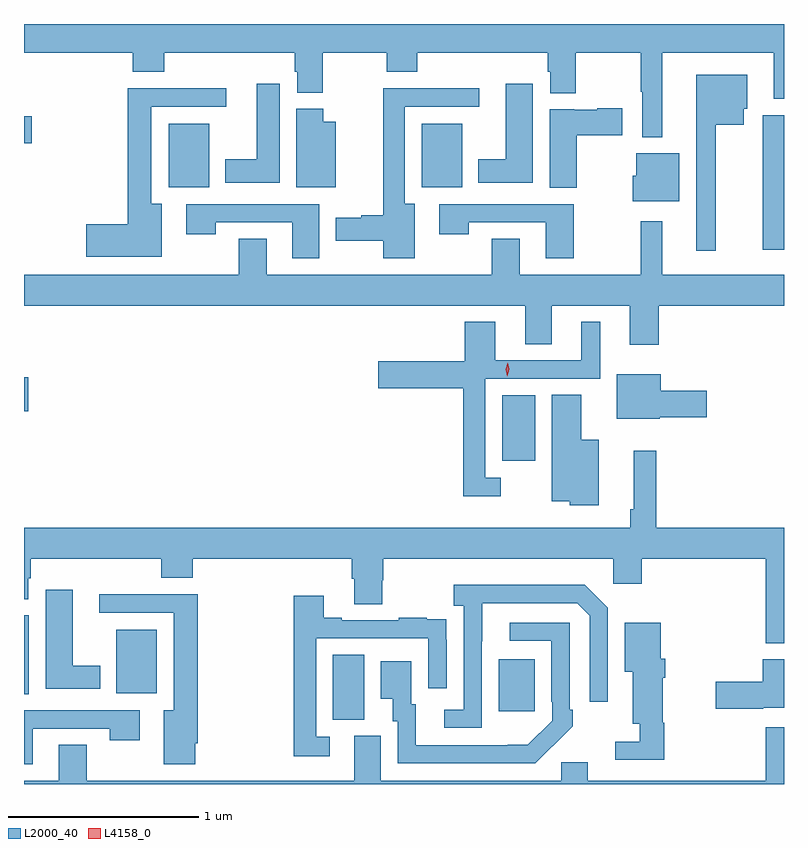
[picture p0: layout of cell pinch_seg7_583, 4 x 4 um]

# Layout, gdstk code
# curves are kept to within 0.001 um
import gdstk
lib = gdstk.Library(unit=1e-6, precision=1e-09)
def R(c, l, rs):  # rectangles x0, y0, x1, y1
    for r in rs: c.add(gdstk.rectangle(r[:2], r[2:], *l))
def P(c, l, *ps):  # polygons
    for p in ps: c.add(gdstk.Polygon(p, *l))
L2000_40 = (2000, 40)
L4158_0 = (4158, 0)

pinch_seg7_583 = lib.new_cell('pinch_seg7_583')
R(pinch_seg7_583, L2000_40, [(144.452,1022.413,144.616,1022.756), (145.325,1022.457,145.513,1022.731), (142.826,1022.548,142.852,1022.962), (143.312,1022.552,143.524,1022.887), (145.343,1023.776,145.516,1024.12), (142.826,1024.037,142.849,1024.215), (146.714,1024.886,146.826,1025.596), (143.588,1025.216,143.8,1025.551), (144.92,1025.216,145.132,1025.551), (142.826,1025.447,142.867,1025.589)])
P(pinch_seg7_583, L2000_40, [(146.185,1025.924),(146.771,1025.924),(146.771,1025.681),(146.826,1025.681),(146.826,1026.075),(142.826,1026.075),(142.826,1025.924),(143.399,1025.924),(143.399,1025.825),(143.564,1025.825),(143.564,1025.924),(144.251,1025.924),(144.251,1025.823),(144.263,1025.823),(144.263,1025.713),(144.399,1025.713),(144.399,1025.924),(144.736,1025.924),(144.736,1025.825),(144.896,1025.825),(144.896,1025.924),(145.583,1025.924),(145.583,1025.823),(145.595,1025.823),(145.595,1025.711),(145.731,1025.711),(145.731,1025.924),(146.071,1025.924),(146.071,1025.719),(146.081,1025.719),(146.081,1025.48),(146.185,1025.48)],
  [(146.467,1025.546),(146.614,1025.546),(146.614,1025.628),(146.632,1025.628),(146.632,1025.809),(146.363,1025.809),(146.363,1024.881),(146.467,1024.881)],
  [(145.504,1025.761),(145.361,1025.761),(145.361,1025.362),(145.217,1025.362),(145.217,1025.24),(145.504,1025.24)],
  [(144.172,1025.761),(144.05,1025.761),(144.05,1025.362),(143.885,1025.362),(143.885,1025.24),(144.172,1025.24)],
  [(143.551,1025.128),(143.497,1025.128),(143.497,1025.64),(143.89,1025.64),(143.89,1025.738),(143.372,1025.738),(143.372,1025.021),(143.154,1025.021),(143.154,1024.85),(143.551,1024.85)],
  [(144.883,1025.128),(144.829,1025.128),(144.829,1025.64),(145.222,1025.64),(145.222,1025.738),(144.716,1025.738),(144.716,1025.069),(144.6,1025.069),(144.6,1025.056),(144.468,1025.056),(144.468,1024.934),(144.716,1024.934),(144.716,1024.842),(144.883,1024.842)],
  [(145.734,1025.489),(145.975,1025.489),(145.975,1025.631),(145.842,1025.631),(145.842,1025.623),(145.722,1025.623),(145.722,1025.626),(145.592,1025.626),(145.592,1025.212),(145.734,1025.212)],
  [(144.466,1025.56),(144.402,1025.56),(144.402,1025.628),(144.26,1025.628),(144.26,1025.216),(144.466,1025.216)],
  [(146.275,1025.395),(146.048,1025.395),(146.048,1025.277),(146.03,1025.277),(146.03,1025.141),(146.275,1025.141)],
  [(144.379,1025.127),(143.679,1025.127),(143.679,1024.968),(143.835,1024.968),(143.835,1025.031),(144.239,1025.031),(144.239,1024.842),(144.379,1024.842)],
  [(145.719,1025.127),(145.011,1025.127),(145.011,1024.968),(145.167,1024.968),(145.167,1025.031),(145.571,1025.031),(145.571,1024.842),(145.719,1024.842)],
  [(145.435,1024.946),(145.288,1024.946),(145.288,1024.756),(144.103,1024.756),(144.103,1024.946),(143.956,1024.946),(143.956,1024.756),(142.826,1024.756),(142.826,1024.592),(145.463,1024.592),(145.463,1024.39),(145.603,1024.39),(145.603,1024.592),(146.015,1024.592),(146.015,1024.386),(146.168,1024.386),(146.168,1024.592),(146.826,1024.592),(146.826,1024.756),(146.185,1024.756),(146.185,1025.038),(146.071,1025.038),(146.071,1024.756),(145.435,1024.756)],
  [(145.336,1023.687),(145.254,1023.687),(145.254,1024.209),(145.858,1024.209),(145.858,1024.507),(145.76,1024.507),(145.76,1024.305),(145.306,1024.305),(145.306,1024.507),(145.145,1024.507),(145.145,1024.299),(144.69,1024.299),(144.69,1024.157),(145.138,1024.157),(145.138,1023.59),(145.336,1023.59)],
  [(146.172,1024.004),(146.419,1024.004),(146.419,1024.146),(146.176,1024.146),(146.176,1024.231),(145.946,1024.231),(145.946,1023.998),(146.172,1023.998)],
  [(145.852,1023.886),(145.759,1023.886),(145.759,1024.124),(145.604,1024.124),(145.604,1023.563),(145.698,1023.563),(145.698,1023.542),(145.852,1023.542)],
  [(146.036,1023.829),(146.036,1023.52),(146.017,1023.52),(146.017,1023.424),(142.826,1023.424),(142.826,1023.047),(142.849,1023.047),(142.849,1023.159),(142.862,1023.159),(142.862,1023.26),(143.549,1023.26),(143.549,1023.161),(143.714,1023.161),(143.714,1023.26),(144.551,1023.26),(144.551,1023.154),(144.563,1023.154),(144.563,1023.022),(144.711,1023.022),(144.711,1023.147),(144.716,1023.147),(144.716,1023.26),(145.926,1023.26),(145.926,1023.129),(146.078,1023.129),(146.078,1023.26),(146.73,1023.26),(146.73,1022.816),(146.826,1022.816),(146.826,1023.424),(146.153,1023.424),(146.153,1023.829)],
  [(145.236,1022.827),(145.237,1023.027),(145.737,1023.027),(145.803,1022.961),(145.803,1022.508),(145.899,1022.508),(145.899,1023.003),(145.778,1023.124),(145.089,1023.124),(145.089,1023.014),(145.14,1023.014),(145.14,1022.466),(145.038,1022.466),(145.038,1022.37),(145.236,1022.37)],
  [(143.227,1022.698),(143.083,1022.698),(143.083,1023.097),(142.94,1023.097),(142.94,1022.576),(143.227,1022.576)],
  [(143.728,1022.29),(143.741,1022.29),(143.741,1023.074),(143.223,1023.074),(143.223,1022.976),(143.615,1022.976),(143.615,1022.464),(143.561,1022.464),(143.561,1022.178),(143.728,1022.178)],
  [(144.436,1022.325),(144.363,1022.325),(144.363,1022.841),(144.954,1022.841),(144.954,1022.58),(145.05,1022.58),(145.05,1022.834),(145.049,1022.834),(145.049,1022.943),(144.947,1022.943),(144.947,1022.95),(144.799,1022.95),(144.799,1022.937),(144.499,1022.937),(144.499,1022.95),(144.403,1022.95),(144.403,1023.067),(144.247,1023.067),(144.247,1022.22),(144.436,1022.22)],
  [(145.607,1022.275),(145.608,1022.274),(145.713,1022.379),(145.713,1022.467),(145.698,1022.467),(145.698,1022.925),(145.383,1022.925),(145.383,1022.829),(145.602,1022.829),(145.602,1022.509),(145.605,1022.509),(145.605,1022.409),(145.477,1022.281),(144.889,1022.28),(144.889,1022.496),(144.865,1022.496),(144.865,1022.722),(144.704,1022.722),(144.704,1022.525),(144.767,1022.525),(144.767,1022.406),(144.792,1022.406),(144.792,1022.184),(145.516,1022.184)],
  [(146.195,1022.397),(146.188,1022.397),(146.188,1022.633),(146.201,1022.633),(146.201,1022.733),(146.176,1022.733),(146.176,1022.923),(145.988,1022.923),(145.988,1022.666),(146.03,1022.666),(146.03,1022.393),(146.067,1022.393),(146.067,1022.298),(145.938,1022.298),(145.938,1022.202),(146.195,1022.202)],
  [(146.718,1022.477),(146.826,1022.477),(146.826,1022.731),(146.714,1022.731),(146.714,1022.612),(146.466,1022.612),(146.466,1022.47),(146.718,1022.47)],
  [(142.873,1022.367),(143.278,1022.367),(143.278,1022.304),(143.434,1022.304),(143.434,1022.463),(142.826,1022.463),(142.826,1022.178),(142.873,1022.178)],
  [(146.826,1022.374),(146.73,1022.374),(146.73,1022.092),(145.792,1022.092),(145.792,1022.19),(145.653,1022.19),(145.653,1022.092),(144.703,1022.092),(144.703,1022.328),(144.563,1022.328),(144.563,1022.092),(143.157,1022.092),(143.157,1022.282),(143.009,1022.282),(143.009,1022.092),(142.826,1022.092),(142.826,1022.075),(146.826,1022.075)])
P(pinch_seg7_583, L4158_0, [(145.369,1024.221),(145.361,1024.257),(145.372,1024.293),(145.373,1024.293),(145.373,1024.293),(145.381,1024.257),(145.37,1024.221),(145.37,1024.221)])

lib.write_gds('pinch_seg7_583.gds')
